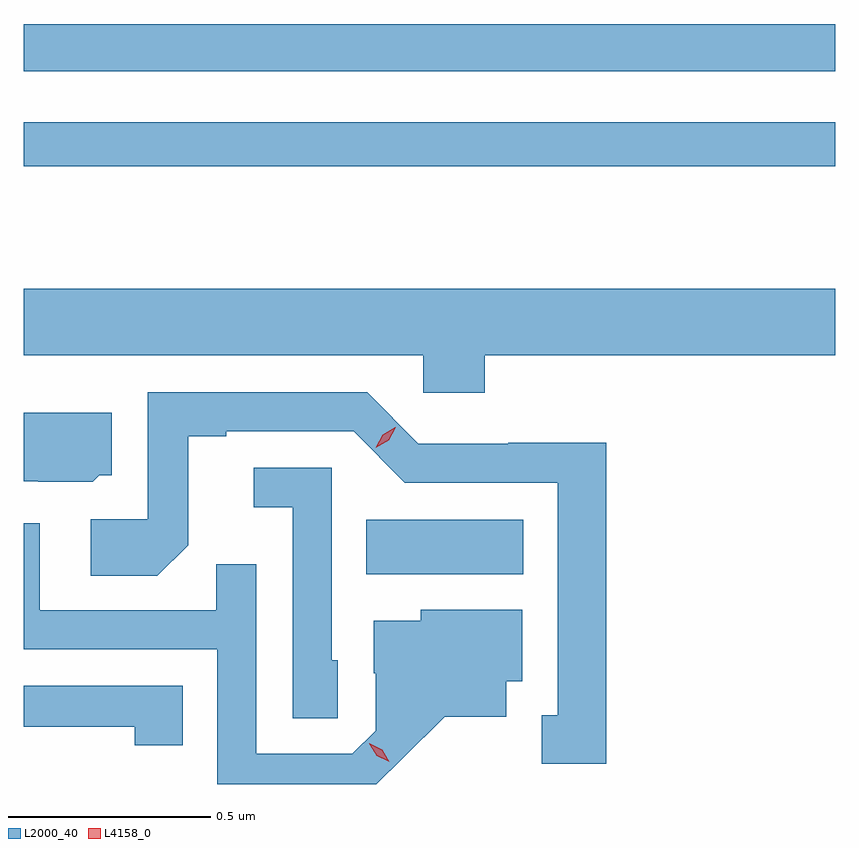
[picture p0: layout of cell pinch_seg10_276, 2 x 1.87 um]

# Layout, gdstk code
import gdstk
lib = gdstk.Library(unit=1e-6, precision=1e-09)
def R(c, l, rs):  # rectangles x0, y0, x1, y1
    for r in rs: c.add(gdstk.rectangle(r[:2], r[2:], *l))
def P(c, l, *ps):  # polygons
    for p in ps: c.add(gdstk.Polygon(p, *l))
L2000_40 = (2000, 40)
L4158_0 = (4158, 0)

pinch_seg10_276 = lib.new_cell('pinch_seg10_276')
R(pinch_seg10_276, L2000_40, [(529.42,1309.1,529.807,1309.234), (528.576,1310.106,530.576,1310.214), (528.576,1310.34,530.576,1310.456)])
P(pinch_seg10_276, L2000_40, [(529.712,1309.64),(530.576,1309.64),(530.576,1309.804),(528.576,1309.804),(528.576,1309.64),(529.56,1309.64),(529.56,1309.547),(529.712,1309.547)],
  [(530.011,1309.424),(529.77,1309.424),(529.77,1309.422),(529.548,1309.422),(529.422,1309.548),(528.882,1309.548),(528.882,1309.236),(528.741,1309.236),(528.741,1309.096),(528.905,1309.096),(528.981,1309.172),(528.981,1309.44),(529.075,1309.44),(529.075,1309.452),(529.389,1309.452),(529.515,1309.326),(529.892,1309.326),(529.892,1308.753),(529.853,1308.753),(529.853,1308.633),(530.011,1308.633)],
  [(528.762,1309.344),(528.793,1309.344),(528.793,1309.498),(528.576,1309.498),(528.576,1309.329),(528.612,1309.329),(528.612,1309.328),(528.746,1309.328)],
  [(529.35,1308.888),(529.335,1308.888),(529.335,1309.362),(529.143,1309.362),(529.143,1309.265),(529.239,1309.265),(529.239,1308.745),(529.35,1308.745)],
  [(529.51,1308.647),(529.613,1308.749),(529.765,1308.749),(529.765,1308.836),(529.804,1308.836),(529.804,1309.012),(529.554,1309.012),(529.554,1308.985),(529.439,1308.985),(529.439,1308.856),(529.443,1308.856),(529.443,1308.714),(529.386,1308.657),(529.149,1308.657),(529.149,1309.124),(529.051,1309.124),(529.051,1309.011),(528.615,1309.011),(528.615,1309.225),(528.576,1309.225),(528.576,1308.915),(529.053,1308.915),(529.053,1308.583),(529.445,1308.583)],
  [(528.968,1308.825),(528.576,1308.825),(528.576,1308.724),(528.85,1308.724),(528.85,1308.678),(528.968,1308.678)])
P(pinch_seg10_276, L4158_0, [(529.443,1309.412),(529.443,1309.412),(529.461,1309.444),(529.492,1309.462),(529.493,1309.462),(529.493,1309.462),(529.475,1309.43),(529.443,1309.412)],
  [(529.477,1308.638),(529.446,1308.653),(529.428,1308.682),(529.428,1308.683),(529.428,1308.683),(529.459,1308.668),(529.477,1308.638),(529.477,1308.638)])

lib.write_gds('pinch_seg10_276.gds')
